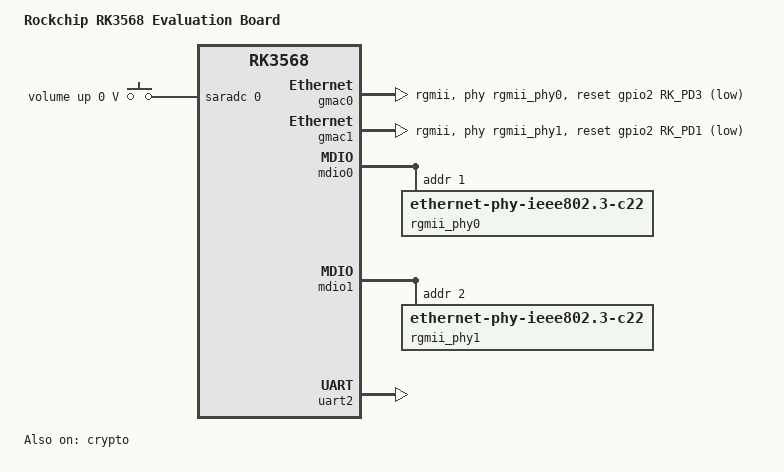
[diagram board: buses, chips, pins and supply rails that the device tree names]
/*
 * SPDX-License-Identifier:     GPL-2.0+
 *
 * (C) Copyright 2020 Rockchip Electronics Co., Ltd
 */

/dts-v1/;
#include "rk3568.dtsi"
#include "rk3568-u-boot.dtsi"
#include <dt-bindings/input/input.h>

/ {
	model = "Rockchip RK3568 Evaluation Board";
	compatible = "rockchip,rk3568-evb", "rockchip,rk3568";

	adc-keys {
		compatible = "adc-keys";
		io-channels = <&saradc 0>;
		io-channel-names = "buttons";
		keyup-threshold-microvolt = <1800000>;
		u-boot,dm-spl;
		status = "okay";

		volumeup-key {
			u-boot,dm-spl;
			linux,code = <KEY_VOLUMEUP>;
			label = "volume up";
			press-threshold-microvolt = <9>;
		};
	};
};

&gmac0 {
	phy-mode = "rgmii";
	clock_in_out = "input";

	snps,reset-gpio = <&gpio2 RK_PD3 GPIO_ACTIVE_LOW>;
	snps,reset-active-low;
	/* Reset time is 20ms, 100ms for rtl8211f */
	snps,reset-delays-us = <0 20000 100000>;
	
	assigned-clocks = <&cru SCLK_GMAC0_RX_TX>, <&cru SCLK_GMAC0>;
	assigned-clock-parents = <&cru SCLK_GMAC0_RGMII_SPEED>, <&cru CLK_MAC0_2TOP>;
	assigned-clock-rates = <0>, <125000000>;

	pinctrl-names = "default";
	pinctrl-0 = <&gmac0_miim
		     &gmac0_tx_bus2
		     &gmac0_rx_bus2
		     &gmac0_rgmii_clk
		     &gmac0_rgmii_bus
		     &gmac0_clkinout
		     &gmac0_refclko25m>;

	
	tx_delay = <0x3c>;
	rx_delay = <0x2f>;

	phy-handle = <&rgmii_phy0>;
	status = "okay";
};

&gmac1 {
	phy-mode = "rgmii";
	clock_in_out = "input";

	snps,reset-gpio = <&gpio2 RK_PD1 GPIO_ACTIVE_LOW>;
	snps,reset-active-low;
	/* Reset time is 20ms, 100ms for rtl8211f */
	snps,reset-delays-us = <0 20000 100000>;

	assigned-clocks = <&cru SCLK_GMAC1_RX_TX>, <&cru SCLK_GMAC1>;
	assigned-clock-parents = <&cru SCLK_GMAC1_RGMII_SPEED>, <&cru CLK_MAC1_2TOP>;
	assigned-clock-rates = <0>, <125000000>;

	pinctrl-names = "default";
	pinctrl-0 = <&gmac1m1_miim
		     &gmac1m1_tx_bus2
		     &gmac1m1_rx_bus2
		     &gmac1m1_rgmii_clk
		     &gmac1m1_rgmii_bus
		     &gmac1m1_clkinout
		     &gmac1m1_refclko25mm1>;

	tx_delay = <0x4f>;
	rx_delay = <0x26>;

	phy-handle = <&rgmii_phy1>;
	status = "okay";
};

&mdio0 {
	rgmii_phy0: phy@0 {
		compatible = "ethernet-phy-ieee802.3-c22";
		reg = <0x1>;
		clocks = <&cru CLK_MAC0_OUT > ;
	};
};

&mdio1 {
	rgmii_phy1: phy@0 {
		compatible = "ethernet-phy-ieee802.3-c22";
		reg = <0x2>;
		clocks = <&cru CLK_MAC1_OUT > ;
	};
};

&crypto {
	status = "okay";
};

&uart2 {
	status = "okay";
};
